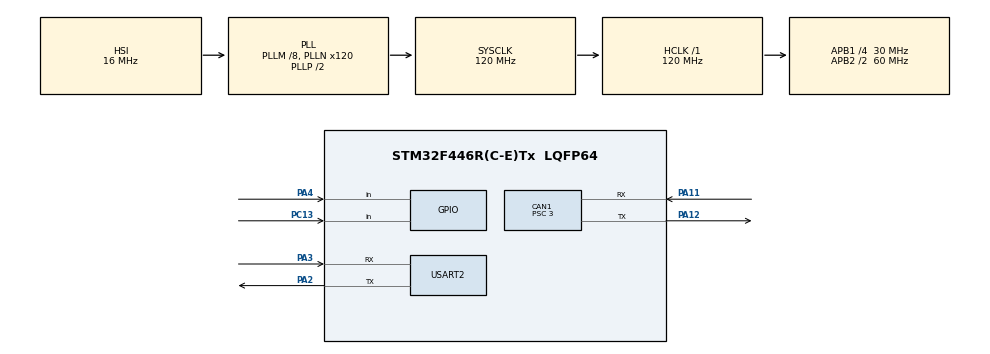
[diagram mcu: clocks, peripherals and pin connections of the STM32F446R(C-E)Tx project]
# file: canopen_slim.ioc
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Mcu.Family=STM32F4
CAN1.NART=DISABLE
RCC.CortexFreq_Value=120000000
PC13.Signal=GPIO_Input
Dma.USART2_RX.0.Direction=DMA_PERIPH_TO_MEMORY
PA11.Mode=Master
PA11.GPIO_PuPd=GPIO_NOPULL
RCC.APB1CLKDivider=RCC_HCLK_DIV4
NVIC.USART2_IRQn=true\:0\:0\:false\:false\:true\:true\:true
RCC.SYSCLKSource=RCC_SYSCLKSOURCE_PLLCLK
ProjectManager.StackSize=0x400
Dma.USART2_RX.0.Mode=DMA_CIRCULAR
PA3.Mode=Asynchronous
PA12.Signal=CAN1_TX
TIM1.Prescaler=3
CAN1.BS1=CAN_BS1_8TQ
ProjectManager.TargetToolchain=EWARM V8.32
NVIC.DMA1_Stream5_IRQn=true\:0\:0\:false\:false\:true\:false\:true
Dma.USART2_RX.0.Priority=DMA_PRIORITY_LOW
Dma.USART2_RX.0.PeriphDataAlignment=DMA_PDATAALIGN_BYTE
RCC.HCLKFreq_Value=120000000
RCC.APB2TimFreq_Value=120000000
RCC.USBFreq_Value=120000000
RCC.AHBFreq_Value=120000000
board=custom
RCC.VCOOutputFreq_Value=240000000
TIM1.TIM_MasterOutputTrigger=TIM_TRGO_UPDATE
RCC.APB2Freq_Value=60000000
Dma.USART2_RX.0.MemDataAlignment=DMA_MDATAALIGN_BYTE
VP_TIM2_VS_ClockSourceINT.Mode=Internal
NVIC.TIM2_IRQn=true\:0\:0\:false\:false\:true\:true\:true
Dma.USART2_RX.0.Instance=DMA1_Stream5
TIM2.Period=5999
Dma.USART2_RX.0.MemInc=DMA_MINC_ENABLE
Mcu.Name=STM32F446R(C-E)Tx
VP_TIM1_VS_ClockSourceINT.Mode=Internal
PA2.Signal=USART2_TX
PA4.Signal=GPIO_Input
RCC.SYSCLKFreq_VALUE=120000000
CAN1.Prescaler=3
Mcu.Package=LQFP64
PA12.Mode=Master
Dma.USART2_RX.0.PeriphInc=DMA_PINC_DISABLE
USART2.VirtualMode=VM_ASYNC
Dma.USART2_RX.0.FIFOMode=DMA_FIFOMODE_DISABLE
PA11.Signal=CAN1_RX
ProjectManager.HeapSize=0x200
NVIC.TIM1_UP_TIM10_IRQn=true\:1\:0\:true\:false\:true\:true\:true
NVIC.PriorityGroup=NVIC_PRIORITYGROUP_4
RCC.APB2CLKDivider=RCC_HCLK_DIV2
RCC.PLLM=8
RCC.PLLN=120
RCC.APB1TimFreq_Value=60000000
PA2.Mode=Asynchronous
TIM1.Period=29999
PA12.GPIO_PuPd=GPIO_NOPULL
Dma.Request0=USART2_RX
RCC.APB1Freq_Value=30000000
NVIC.CAN1_RX0_IRQn=true\:0\:0\:false\:false\:true\:true\:true
CAN1.CalculateTimeQuantum=100.0
PA3.Signal=USART2_RX

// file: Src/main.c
/* USER CODE BEGIN Header */
/**
  ******************************************************************************
  * @file           : main.c
  * @brief          : Main program body
  ******************************************************************************
  * @attention
  *
  * <h2><center>&copy; Copyright (c) 2020 STMicroelectronics.
  * All rights reserved.</center></h2>
  *
  * This software component is licensed by ST under BSD 3-Clause license,
  * the "License"; You may not use this file except in compliance with the
  * License. You may obtain a copy of the License at:
  *                        opensource.org/licenses/BSD-3-Clause
  *
  ******************************************************************************
  */
/* USER CODE END Header */

#include "main.h"

/* USER CODE BEGIN Includes */
#include <stdbool.h>
#include "arm_math.h"
#include "canopen_slim/canopenSlim.h"

#ifndef PI
#define PI 3.14159265358979f
#endif
#ifndef PI_2
#define PI_2 6.28318530717959f
#endif
/* USER CODE END Includes */

CAN_HandleTypeDef hcan1;

TIM_HandleTypeDef htim1;
TIM_HandleTypeDef htim2;

UART_HandleTypeDef huart2;
DMA_HandleTypeDef hdma_usart2_rx;

void SystemClock_Config(void);
static void MX_GPIO_Init(void);
static void MX_DMA_Init(void);
static void MX_CAN1_Init(void);
static void MX_TIM1_Init(void);
static void MX_TIM2_Init(void);
static void MX_USART2_UART_Init(void);

/* USER CODE BEGIN 0 */
COSLM_PDOStruct readPDO[2];
COSLM_PDOStruct sendPDO[2];
int32_t readPOS[2];
int32_t sendPOS[2];

uint8_t rxData;

CAN_RxHeaderTypeDef   Rx0Header;
uint8_t               Rx0Data[8];
void HAL_CAN_RxFifo0MsgPendingCallback(CAN_HandleTypeDef *hcan){
  if(HAL_CAN_GetRxMessage(hcan, CAN_RX_FIFO0, &Rx0Header, Rx0Data) == HAL_OK){
    canopenSlim_addRxBuffer(Rx0Header.StdId, Rx0Data);
  }
}

void HAL_TIM_PeriodElapsedCallback(TIM_HandleTypeDef *htim){
  if(htim == &htim1){

    switch(rxData){
    case 'q':
      sendPOS[0] += 100;
      rxData = 0x00;
      break;

    case 'w':
      sendPOS[0] -= 100;
      rxData = 0x00;
      break;

    case 'a':
      sendPOS[1] += 100;
      rxData = 0x00;
      break;

    case 's':
      sendPOS[1] -= 100;
      rxData = 0x00;
      break;

    case 'z':
      canopenSlim_writeOD_uint8(0x22, 0x2002, 0x07, 0x01, 2);
      canopenSlim_writeOD_uint8(0x23, 0x2002, 0x07, 0x01, 2);
      sendPOS[0] = 0;
      sendPOS[1] = 0;
      rxData = 0x00;
    }

    // [[ Send CANOpen Frame ]]
    canopenSlim_sendPDO(0x22, 1, &sendPDO[0]);
    canopenSlim_sendPDO(0x23, 1, &sendPDO[1]);
    canopenSlim_sendSync();
    canopenSlim_readPDO(0x22, 1, &readPDO[0], 2);
    canopenSlim_readPDO(0x23, 1, &readPDO[1], 2);

  }else if(htim == &htim2){
    canopenSlim_timerLoop();
  }
}

/* USER CODE END 0 */

int main(void)
{

  /* MCU Configuration--------------------------------------------------------*/

  /* Reset of all peripherals, Initializes the Flash interface and the Systick. */
  HAL_Init();

  /* Configure the system clock */
  SystemClock_Config();

  /* Initialize all configured peripherals */
  MX_GPIO_Init();
  MX_DMA_Init();
  MX_CAN1_Init();
  MX_TIM1_Init();
  MX_TIM2_Init();
  MX_USART2_UART_Init();
  /* USER CODE BEGIN 2 */

  // [[ CAN Init ]]
  // This mcu is CANOpen Master. So it should receive all can frame.
  CAN_FilterTypeDef sFilterConfig0;
  sFilterConfig0.FilterBank = 0;
  sFilterConfig0.FilterMode = CAN_FILTERMODE_IDMASK;
  sFilterConfig0.FilterScale = CAN_FILTERSCALE_16BIT;
  sFilterConfig0.FilterIdLow = 0x0000;
  sFilterConfig0.FilterMaskIdLow = 0x0000;
  sFilterConfig0.FilterIdHigh = 0x0000;
  sFilterConfig0.FilterMaskIdHigh = 0x0000;
  sFilterConfig0.FilterFIFOAssignment = CAN_RX_FIFO0;
  sFilterConfig0.FilterActivation = ENABLE;
  HAL_CAN_ConfigFilter(&hcan1, &sFilterConfig0);

  HAL_CAN_Start(&hcan1);
  HAL_CAN_ActivateNotification(&hcan1, CAN_IT_RX_FIFO0_MSG_PENDING);

  // [[ Timer2 Init ]]
  // Start Timer2 to check timeout of CANOpen response (10kHz)
  HAL_TIM_Base_Start_IT(&htim2);

  // Check [http://info.bluesink.io] to check Object Dictionary Elements.
  // Stop motor drivers
  // OD[2000, 04] = 0x00 (Set Motor driver to Stop state)
  canopenSlim_writeOD_uint8(0x22, 0x2000, 0x04, 0x00, 100);
  canopenSlim_writeOD_uint8(0x23, 0x2000, 0x04, 0x00, 100);
  while(HAL_GPIO_ReadPin(GPIOC, GPIO_PIN_13) == GPIO_PIN_SET);

  // Startup Batch
  // [[ 0x22 ]]
  // Set TPDO
  // 1. OD[1800, 01] = 0x80000180 + Node ID (Disable TPDO)
  // 2. OD[1A00 ,00] = 0x00 (Disable TPDO Mapping)
  // 3. OD[1A00, 01] = 0x20010220 (Mapping OD[2001, 02] to first entry)
  // 4. OD[1A00, 00] = 0x01 (Enable TPDO Mapping)
  // 5. OD[1800, 01] = 0x180 + Node ID (Enable TPDO)
  canopenSlim_writeOD_uint32(0x22, 0x1800, 0x01, 0x22 | 0x80000180, 100);
  canopenSlim_writeOD_uint8(0x22, 0x1A00, 0x00, 0, 100);
  canopenSlim_writeOD_uint32(0x22, 0x1A00, 0x01, 0x20010220, 100);
  canopenSlim_writeOD_uint8(0x22, 0x1A00, 0x00, 1, 100);
  canopenSlim_writeOD_uint32(0x22, 0x1800, 0x01, 0x22 | 0x180, 100);

  // Set RPDO
  // 1. OD[1400, 01] = 0x80000200 + Node ID (Disable RPDO)
  // 2. OD[1600 ,00] = 0x00 (Disable RPDO Mapping)
  // 3. OD[1600, 01] = 0x20000220 (Mapping OD[2000, 02] to first entry)
  // 4. OD[1600, 00] = 0x01 (Enable RPDO Mapping)
  // 5. OD[1400, 01] = 0x200 + Node ID (Enable RPDO)
  canopenSlim_writeOD_uint32(0x22, 0x1400, 0x01, 0x22 | 0x80000200, 100);
  canopenSlim_writeOD_uint8(0x22, 0x1600, 0x00, 0, 100);
  canopenSlim_writeOD_uint32(0x22, 0x1600, 0x01, 0x20000220, 100);
  canopenSlim_writeOD_uint8(0x22, 0x1600, 0x00, 1, 100);
  canopenSlim_writeOD_uint32(0x22, 0x1400, 0x01, 0x22 | 0x200, 100);

  canopenSlim_mappingPDO_init(&sendPDO[0]);
  canopenSlim_mappingPDO_int32(&sendPDO[0], &sendPOS[0]);

  canopenSlim_mappingPDO_init(&readPDO[0]);
  canopenSlim_mappingPDO_int32(&readPDO[0], &readPOS[0]);

    // [[ 0x23 ]]
  // 1. OD[1800, 01] = 0x80000180 + Node ID (Disable TPDO)
  // 2. OD[1A00 ,00] = 0x00 (Disable TPDO Mapping)
  // 3. OD[1A00, 01] = 0x20010220 (Mapping OD[2001, 02] to first entry)
  // 4. OD[1A00, 00] = 0x01 (Enable TPDO Mapping)
  // 5. OD[1800, 01] = 0x180 + Node ID (Enable TPDO)
  canopenSlim_writeOD_uint32(0x23, 0x1800, 0x01, 0x23 | 0x80000180, 100);
  canopenSlim_writeOD_uint8(0x23, 0x1A00, 0x00, 0, 100);
  canopenSlim_writeOD_uint32(0x23, 0x1A00, 0x01, 0x20010220, 100);
  canopenSlim_writeOD_uint8(0x23, 0x1A00, 0x00, 1, 100);
  canopenSlim_writeOD_uint32(0x23, 0x1800, 0x01, 0x23 | 0x180, 100);

  // 1. OD[1400, 01] = 0x80000200 + Node ID (Disable RPDO)
  // 2. OD[1600 ,00] = 0x00 (Disable RPDO Mapping)
  // 3. OD[1600, 01] = 0x20000220 (Mapping OD[2000, 02] to first entry)
  // 4. OD[1600, 00] = 0x01 (Enable RPDO Mapping)
  // 5. OD[1400, 01] = 0x200 + Node ID (Enable RPDO)
  canopenSlim_writeOD_uint32(0x23, 0x1400, 0x01, 0x23 | 0x80000200, 100);
  canopenSlim_writeOD_uint8(0x23, 0x1600, 0x00, 0, 100);
  canopenSlim_writeOD_uint32(0x23, 0x1600, 0x01, 0x20000220, 100);
  canopenSlim_writeOD_uint8(0x23, 0x1600, 0x00, 1, 100);
  canopenSlim_writeOD_uint32(0x23, 0x1400, 0x01, 0x23 | 0x200, 100);

  canopenSlim_mappingPDO_init(&sendPDO[1]);
  canopenSlim_mappingPDO_int32(&sendPDO[1], &sendPOS[1]);

  canopenSlim_mappingPDO_init(&readPDO[1]);
  canopenSlim_mappingPDO_int32(&readPDO[1], &readPOS[1]);

  // [[ Go to speed control state ]]
  // OD[2000, 04] = 0x04 (Set Motor driver to Position control state)
  canopenSlim_writeOD_uint8(0x22, 0x2000, 0x04, 0x04, 100);
  canopenSlim_writeOD_uint8(0x23, 0x2000, 0x04, 0x04, 100);

  // [[ Main timer start ]]
  // Start main control timer (1kHz)
  HAL_TIM_Base_Start_IT(&htim1);

  // [[ UART Enable ]]
  HAL_UART_Receive_DMA(&huart2, &rxData, 1);

  /* USER CODE END 2 */

  /* Infinite loop */
  while (1)
  {

  }
}

void SystemClock_Config(void)
{
  RCC_OscInitTypeDef RCC_OscInitStruct = {0};
  RCC_ClkInitTypeDef RCC_ClkInitStruct = {0};

  /** Configure the main internal regulator output voltage
  */
  __HAL_RCC_PWR_CLK_ENABLE();
  __HAL_PWR_VOLTAGESCALING_CONFIG(PWR_REGULATOR_VOLTAGE_SCALE3);
  /** Initializes the CPU, AHB and APB busses clocks
  */
  RCC_OscInitStruct.OscillatorType = RCC_OSCILLATORTYPE_HSI;
  RCC_OscInitStruct.HSIState = RCC_HSI_ON;
  RCC_OscInitStruct.HSICalibrationValue = RCC_HSICALIBRATION_DEFAULT;
  RCC_OscInitStruct.PLL.PLLState = RCC_PLL_ON;
  RCC_OscInitStruct.PLL.PLLSource = RCC_PLLSOURCE_HSI;
  RCC_OscInitStruct.PLL.PLLM = 8;
  RCC_OscInitStruct.PLL.PLLN = 120;
  RCC_OscInitStruct.PLL.PLLP = RCC_PLLP_DIV2;
  RCC_OscInitStruct.PLL.PLLQ = 2;
  RCC_OscInitStruct.PLL.PLLR = 2;
  if (HAL_RCC_OscConfig(&RCC_OscInitStruct) != HAL_OK)
  {
    Error_Handler();
  }
  /** Initializes the CPU, AHB and APB busses clocks
  */
  RCC_ClkInitStruct.ClockType = RCC_CLOCKTYPE_HCLK|RCC_CLOCKTYPE_SYSCLK
                              |RCC_CLOCKTYPE_PCLK1|RCC_CLOCKTYPE_PCLK2;
  RCC_ClkInitStruct.SYSCLKSource = RCC_SYSCLKSOURCE_PLLCLK;
  RCC_ClkInitStruct.AHBCLKDivider = RCC_SYSCLK_DIV1;
  RCC_ClkInitStruct.APB1CLKDivider = RCC_HCLK_DIV4;
  RCC_ClkInitStruct.APB2CLKDivider = RCC_HCLK_DIV2;

  if (HAL_RCC_ClockConfig(&RCC_ClkInitStruct, FLASH_LATENCY_3) != HAL_OK)
  {
    Error_Handler();
  }
}

static void MX_CAN1_Init(void)
{

  hcan1.Instance = CAN1;
  hcan1.Init.Prescaler = 3;
  hcan1.Init.Mode = CAN_MODE_NORMAL;
  hcan1.Init.SyncJumpWidth = CAN_SJW_1TQ;
  hcan1.Init.TimeSeg1 = CAN_BS1_8TQ;
  hcan1.Init.TimeSeg2 = CAN_BS2_1TQ;
  hcan1.Init.TimeTriggeredMode = DISABLE;
  hcan1.Init.AutoBusOff = DISABLE;
  hcan1.Init.AutoWakeUp = DISABLE;
  hcan1.Init.AutoRetransmission = DISABLE;
  hcan1.Init.ReceiveFifoLocked = DISABLE;
  hcan1.Init.TransmitFifoPriority = DISABLE;
  if (HAL_CAN_Init(&hcan1) != HAL_OK)
  {
    Error_Handler();
  }

}

static void MX_TIM1_Init(void)
{

  TIM_ClockConfigTypeDef sClockSourceConfig = {0};
  TIM_MasterConfigTypeDef sMasterConfig = {0};

  htim1.Instance = TIM1;
  htim1.Init.Prescaler = 3;
  htim1.Init.CounterMode = TIM_COUNTERMODE_UP;
  htim1.Init.Period = 29999;
  htim1.Init.ClockDivision = TIM_CLOCKDIVISION_DIV1;
  htim1.Init.RepetitionCounter = 0;
  htim1.Init.AutoReloadPreload = TIM_AUTORELOAD_PRELOAD_DISABLE;
  if (HAL_TIM_Base_Init(&htim1) != HAL_OK)
  {
    Error_Handler();
  }
  sClockSourceConfig.ClockSource = TIM_CLOCKSOURCE_INTERNAL;
  if (HAL_TIM_ConfigClockSource(&htim1, &sClockSourceConfig) != HAL_OK)
  {
    Error_Handler();
  }
  sMasterConfig.MasterOutputTrigger = TIM_TRGO_UPDATE;
  sMasterConfig.MasterSlaveMode = TIM_MASTERSLAVEMODE_DISABLE;
  if (HAL_TIMEx_MasterConfigSynchronization(&htim1, &sMasterConfig) != HAL_OK)
  {
    Error_Handler();
  }

}

static void MX_TIM2_Init(void)
{

  TIM_ClockConfigTypeDef sClockSourceConfig = {0};
  TIM_MasterConfigTypeDef sMasterConfig = {0};

  htim2.Instance = TIM2;
  htim2.Init.Prescaler = 0;
  htim2.Init.CounterMode = TIM_COUNTERMODE_UP;
  htim2.Init.Period = 5999;
  htim2.Init.ClockDivision = TIM_CLOCKDIVISION_DIV1;
  htim2.Init.AutoReloadPreload = TIM_AUTORELOAD_PRELOAD_DISABLE;
  if (HAL_TIM_Base_Init(&htim2) != HAL_OK)
  {
    Error_Handler();
  }
  sClockSourceConfig.ClockSource = TIM_CLOCKSOURCE_INTERNAL;
  if (HAL_TIM_ConfigClockSource(&htim2, &sClockSourceConfig) != HAL_OK)
  {
    Error_Handler();
  }
  sMasterConfig.MasterOutputTrigger = TIM_TRGO_RESET;
  sMasterConfig.MasterSlaveMode = TIM_MASTERSLAVEMODE_DISABLE;
  if (HAL_TIMEx_MasterConfigSynchronization(&htim2, &sMasterConfig) != HAL_OK)
  {
    Error_Handler();
  }

}

static void MX_USART2_UART_Init(void)
{

  huart2.Instance = USART2;
  huart2.Init.BaudRate = 115200;
  huart2.Init.WordLength = UART_WORDLENGTH_8B;
  huart2.Init.StopBits = UART_STOPBITS_1;
  huart2.Init.Parity = UART_PARITY_NONE;
  huart2.Init.Mode = UART_MODE_TX_RX;
  huart2.Init.HwFlowCtl = UART_HWCONTROL_NONE;
  huart2.Init.OverSampling = UART_OVERSAMPLING_16;
  if (HAL_UART_Init(&huart2) != HAL_OK)
  {
    Error_Handler();
  }

}

static void MX_DMA_Init(void)
{

  /* DMA controller clock enable */
  __HAL_RCC_DMA1_CLK_ENABLE();

  /* DMA interrupt init */
  /* DMA1_Stream5_IRQn interrupt configuration */
  HAL_NVIC_SetPriority(DMA1_Stream5_IRQn, 0, 0);
  HAL_NVIC_EnableIRQ(DMA1_Stream5_IRQn);

}

static void MX_GPIO_Init(void)
{
  GPIO_InitTypeDef GPIO_InitStruct = {0};

  /* GPIO Ports Clock Enable */
  __HAL_RCC_GPIOC_CLK_ENABLE();
  __HAL_RCC_GPIOA_CLK_ENABLE();

  /*Configure GPIO pin : PC13 */
  GPIO_InitStruct.Pin = GPIO_PIN_13;
  GPIO_InitStruct.Mode = GPIO_MODE_INPUT;
  GPIO_InitStruct.Pull = GPIO_NOPULL;
  HAL_GPIO_Init(GPIOC, &GPIO_InitStruct);

  /*Configure GPIO pin : PA4 */
  GPIO_InitStruct.Pin = GPIO_PIN_4;
  GPIO_InitStruct.Mode = GPIO_MODE_INPUT;
  GPIO_InitStruct.Pull = GPIO_NOPULL;
  HAL_GPIO_Init(GPIOA, &GPIO_InitStruct);

}

void Error_Handler(void)
{
}

/************************ (C) COPYRIGHT STMicroelectronics *****END OF FILE****/
